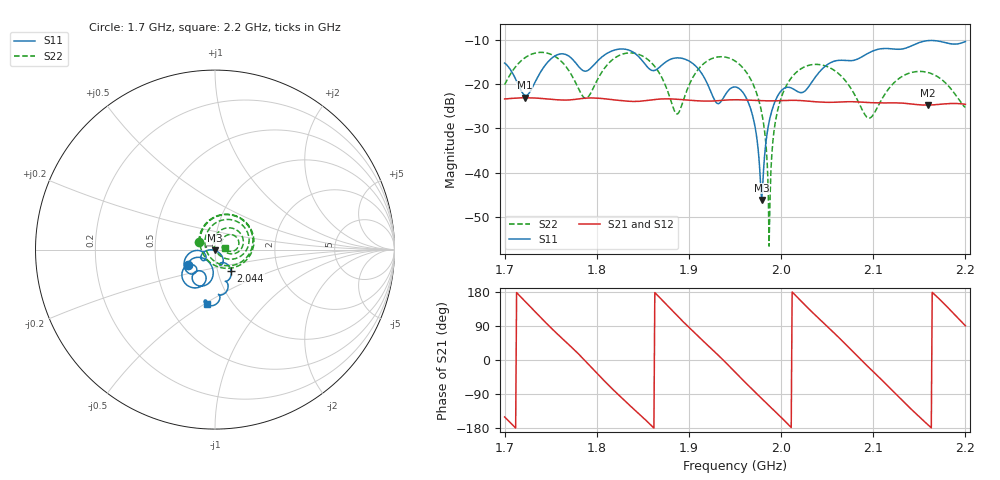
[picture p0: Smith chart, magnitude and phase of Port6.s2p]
# Hz S RI R 50
! CMT, CMT808U, 21440046, 21.4.3/4
! Date: 12/11/2025 6:16:05 PM
! Data: Format (Calibration Info)
! Freq	S11:Re/Im(F2)	S41:Re/Im(F2)	S14:Re/Im(F2)	S44:Re/Im(F2)
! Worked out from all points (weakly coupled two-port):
!   501 points, 1.7 GHz to 2.2 GHz, reference 50 ohm
!   highest |S21| = -23.03 dB at 1.722 GHz (marker M1); lowest = -24.7 dB at 2.159 GHz (marker M2)
!   lowest |S11| = -46.2 dB at 1.979 GHz (marker M3), VSWR 1.01, Z = 49.9 - j0.472 ohm
!   |S11| at or under -10 dB: start of sweep to end of sweep
!   |S22| runs from -56.7 to -12.7 dB; largest |S21 - S12| = 0.00069
!   S11 on the Smith chart (normalised r, x): 1.7 GHz: 0.73, -0.13; 2.044 GHz: 1.16, -0.28; 2.2 GHz: 0.77, -0.51
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1.7e9  -0.152 -0.0858  -0.0594 -0.0339  -0.059 -0.0342  -0.0891 0.0443
1.722e9  -0.0499 -0.0562  -0.064 0.0298  -0.064 0.0292  0.0419 0.1957
1.757e9  -0.0731 -0.2034  0.0237 0.0626  0.0232 0.0626  0.1981 -0.0273
1.784e9  -0.0862 -0.1176  0.0687 0.00791  0.0685 0.0084  -0.0305 -0.0689
1.828e9  -0.1595 -0.1952  -0.0138 -0.0636  -0.0132 -0.0637  0.1231 0.183
1.867e9  -0.1013 -0.1147  -0.0664 0.0142  -0.0665 0.0137  0.1098 -0.0853
1.887e9  -0.159 -0.121  -0.0314 0.0601  -0.0318 0.0597  -0.0401 -0.0228
1.915e9  -0.1272 -0.0107  0.0406 0.0504  0.0401 0.0507  0.038 0.1638
1.931e9  -0.0548 -0.0261  0.0632 0.0163  0.0629 0.0169  0.1511 0.1378
1.95e9  -0.0754 -0.0551  0.057 -0.0352  0.0572 -0.0346  0.1836 0.0156
1.968e9  -0.0484 -0.00617  0.0164 -0.0639  0.0169 -0.0637  0.0951 -0.0534
1.979e9  -0.00117 -0.00473  -0.0134 -0.064  -0.0128 -0.064  0.031 -0.036
1.983e9  0.0153 -0.0121  -0.0237 -0.0608  -0.023 -0.0609  0.0139 -0.0199
1.987e9  0.0293 -0.0233  -0.0332 -0.0559  -0.0326 -0.0562  0.00145 -0.000192
1.993e9  0.043 -0.0452  -0.0459 -0.0462  -0.0453 -0.0465  -0.0065 0.0325
2e9  0.0448 -0.0714  -0.0573 -0.0314  -0.057 -0.0319  0.000113 0.07
2.034e9  0.0697 -0.083  -0.0373 0.0519  -0.0377 0.0516  0.1397 0.0926
2.044e9  0.0895 -0.117  -0.0135 0.0614  -0.0141 0.0612  0.1572 0.0535
2.095e9  0.072 -0.2152  0.0588 -0.0204  0.0589 -0.0199  0.0394 0.0126
2.117e9  0.0267 -0.2528  0.0201 -0.0583  0.0206 -0.0581  0.0536 0.0721
2.159e9  -0.016 -0.3127  -0.0574 -0.01  -0.0573 -0.0105  0.133 0.0315
2.2e9  -0.0427 -0.3029  -0.000416 0.0594  -0.000907 0.0594  0.0539 0.0089
